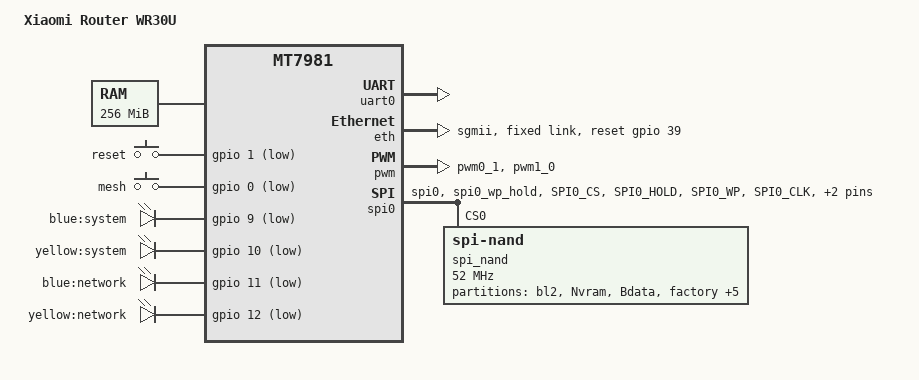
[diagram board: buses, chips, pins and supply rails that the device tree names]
// SPDX-License-Identifier: GPL-2.0
/*
 * Copyright (c) 2022 MediaTek Inc.
 * Author: Sam Shih <sam.shih@mediatek.com>
 */

/dts-v1/;
#include "mt7981.dtsi"
#include <dt-bindings/gpio/gpio.h>
#include <dt-bindings/input/linux-event-codes.h>

/ {
	#address-cells = <1>;
	#size-cells = <1>;
	model = "Xiaomi Router WR30U";
	compatible = "mediatek,mt7981", "mediatek,mt7981-rfb";

	chosen {
		stdout-path = &uart0;
		tick-timer = &timer0;
	};

	config {
		blink_led = "yellow:network";
		system_led = "yellow:system";
	};

	memory@40000000 {
		device_type = "memory";
		reg = <0x40000000 0x10000000>;
	};

	gpio-keys {
		compatible = "gpio-keys";

		reset {
			label = "reset";
			gpios = <&gpio 1 GPIO_ACTIVE_LOW>;
			linux,code = <KEY_RESTART>;
		};

		mesh {
			label = "mesh";
			gpios = <&gpio 0 GPIO_ACTIVE_LOW>;
			linux,code = <BTN_9>;
			linux,input-type = <EV_SW>;
		};
	};

	leds {
		compatible = "gpio-leds";

		led_system_blue {
			label = "blue:system";
			gpios = <&gpio 9 GPIO_ACTIVE_LOW>;
		};

		led_system_yellow {
			label = "yellow:system";
			gpios = <&gpio 10 GPIO_ACTIVE_LOW>;
		};

		led_network_blue {
			label = "blue:network";
			gpios = <&gpio 11 GPIO_ACTIVE_LOW>;
		};

		led_network_yellow {
			label = "yellow:network";
			gpios = <&gpio 12 GPIO_ACTIVE_LOW>;
		};
	};
};

&uart0 {
	mediatek,force-highspeed;
	status = "okay";
};

&uart1 {
	pinctrl-names = "default";
	pinctrl-0 = <&uart1_pins>;
	status = "disabled";
};

&eth {
	status = "okay";
	mediatek,gmac-id = <0>;
	phy-mode = "sgmii";
	mediatek,switch = "mt7531";
	reset-gpios = <&gpio 39 GPIO_ACTIVE_HIGH>;

	fixed-link {
		speed = <1000>;
		full-duplex;
	};
};

&pinctrl {
	spi_flash_pins: spi0-pins-func-1 {
		mux {
			function = "flash";
			groups = "spi0", "spi0_wp_hold";
		};

		conf-pu {
			pins = "SPI0_CS", "SPI0_HOLD", "SPI0_WP";
			drive-strength = <MTK_DRIVE_8mA>;
			bias-pull-up = <MTK_PUPD_SET_R1R0_11>;
		};

		conf-pd {
			pins = "SPI0_CLK", "SPI0_MOSI", "SPI0_MISO";
			drive-strength = <MTK_DRIVE_8mA>;
			bias-pull-down = <MTK_PUPD_SET_R1R0_11>;
		};
	};

	spic_pins: spi1-pins-func-1 {
		mux {
			function = "spi";
			groups = "spi1_1";
		};
	};

	uart1_pins: spi1-pins-func-3 {
		mux {
			function = "uart";
			groups = "uart1_2";
		};
	};

	pwm_pins: pwm0-pins-func-1 {
		mux {
			function = "pwm";
			groups = "pwm0_1", "pwm1_0";
		};
	};
};

&pwm {
	pinctrl-names = "default";
	pinctrl-0 = <&pwm_pins>;
	status = "okay";
};

&spi0 {
	#address-cells = <1>;
	#size-cells = <0>;
	pinctrl-names = "default";
	pinctrl-0 = <&spi_flash_pins>;
	status = "okay";
	must_tx;
	enhance_timing;
	dma_ext;
	ipm_design;
	support_quad;
	tick_dly = <2>;
	sample_sel = <0>;

	spi_nand@0 {
		compatible = "spi-nand";
		reg = <0>;
		spi-max-frequency = <52000000>;

		partitions {
			compatible = "fixed-partitions";
			#address-cells = <1>;
			#size-cells = <1>;

			partition@0 {
				label = "bl2";
				reg = <0x00 0x100000>;
			};

			partition@100000 {
				label = "Nvram";
				reg = <0x100000 0x40000>;
			};

			partition@140000 {
				label = "Bdata";
				reg = <0x140000 0x40000>;
			};

			partition@180000 {
				label = "factory";
				reg = <0x180000 0x200000>;
			};

			partition@380000 {
				label = "fip";
				reg = <0x380000 0x200000>;
			};

			partition@580000 {
				label = "crash";
				reg = <0x580000 0x40000>;
			};

			partition@5c0000 {
				label = "crash_log";
				reg = <0x5c0000 0x40000>;
			};

			partition@600000 {
				label = "ubi";
				reg = <0x600000 0x7000000>;
			};

			partition@7600000 {
				label = "KF";
				reg = <0x7600000 0x40000>;
			};
		};
	};
};

&watchdog {
	status = "disabled";
};
